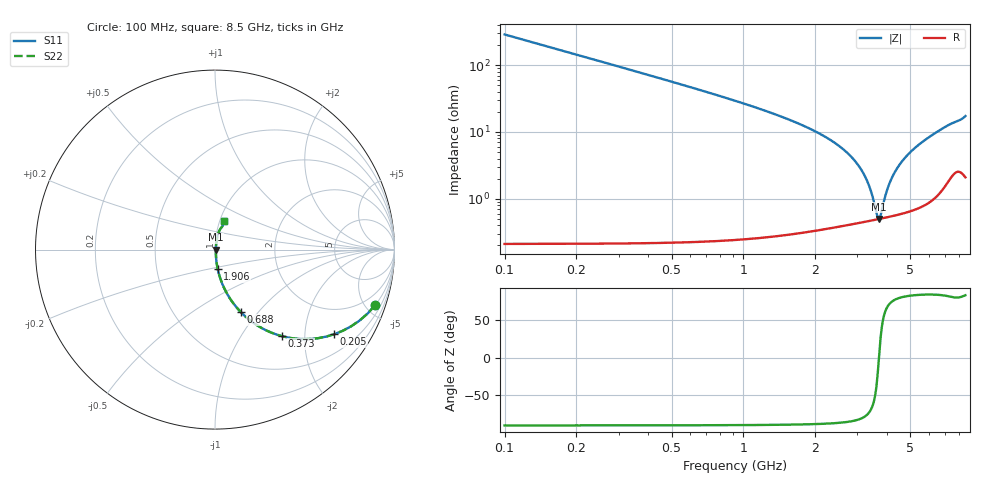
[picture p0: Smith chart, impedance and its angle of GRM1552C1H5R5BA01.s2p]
!Murata Part Number: GRM1552C1H5R5BA01
!These Parameters are Measured in Series Mode Connection
!Data Generated on Mar 30, 2021
!  o--ll--o
!Port1  Port2
!  o------o
!Operation Temp=25[degC], DC Bias Voltage=0[V]
!Freq. Start=100[MHz] Stop=9[GHz] 401[Steps]
# Hz S RI R 50
!Freq.(Hz) S11(Real) S11(Imag) S21(Real) S21(Imag) S12(Real) S12(Imag) S22(Real) S22(Imag)
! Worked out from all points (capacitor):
!   401 points, 100 MHz to 8.5 GHz, reference 50 ohm
!   read as one part in series: C = 5.5 pF near 142 MHz
!   lowest |Z| = 496 mohm at 3.691 GHz (marker M1)
!   series resonance near 3.693 GHz, so ESL is about 340 pH
!   S11 on the Smith chart (normalised r, x): 100 MHz: 1.00, -5.78; 205 MHz: 1.00, -2.81; 373 MHz: 1.00, -1.54; 688 MHz: 1.00, -0.81; 1.906 GHz: 1.01, -0.22; 8.5 GHz: 1.04, +0.34
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1e8  0.893 -0.3088  0.107 0.3088  0.107 0.3088  0.893 -0.3088
2.05e8  0.6642 -0.4715  0.3358 0.4715  0.3358 0.4715  0.6642 -0.4715
3.73e8  0.3712 -0.4817  0.6288 0.4817  0.6288 0.4817  0.3712 -0.4817
5.2e8  0.2301 -0.4189  0.7699 0.4189  0.7699 0.4189  0.2301 -0.4189
6.88e8  0.1428 -0.3471  0.8572 0.3471  0.8572 0.3471  0.1428 -0.3471
1.003e9  0.0685 -0.2481  0.9315 0.2481  0.9315 0.2481  0.0685 -0.2481
1.507e9  0.0275 -0.155  0.9725 0.155  0.9725 0.155  0.0275 -0.155
1.906e9  0.0153 -0.1092  0.9847 0.1092  0.9847 0.1092  0.0153 -0.1092
2.494e9  0.00769 -0.0623  0.9923 0.0623  0.9923 0.0623  0.00769 -0.0623
2.914e9  0.00557 -0.0372  0.9944 0.0372  0.9944 0.0372  0.00557 -0.0372
3.313e9  0.00486 -0.017  0.9951 0.017  0.9951 0.017  0.00486 -0.017
3.46e9  0.00482 -0.0102  0.9952 0.0102  0.9952 0.0102  0.00482 -0.0102
3.628e9  0.00489 -0.00279  0.9951 0.00279  0.9951 0.00279  0.00489 -0.00279
3.691e9  0.00494 -0.000103  0.9951 0.000103  0.9951 0.000103  0.00494 -0.000103
3.754e9  0.00501 0.00254  0.995 -0.00254  0.995 -0.00254  0.00501 0.00254
3.901e9  0.00522 0.00856  0.9948 -0.00856  0.9948 -0.00856  0.00522 0.00856
4.027e9  0.00546 0.0136  0.9945 -0.0136  0.9945 -0.0136  0.00546 0.0136
4.3e9  0.00614 0.024  0.9939 -0.024  0.9939 -0.024  0.00614 0.024
4.867e9  0.00822 0.0442  0.9918 -0.0442  0.9918 -0.0442  0.00822 0.0442
5.707e9  0.0131 0.0722  0.9869 -0.0722  0.9869 -0.0722  0.0131 0.0722
7.114e9  0.0306 0.1165  0.9694 -0.1165  0.9694 -0.1165  0.0306 0.1165
8.5e9  0.0476 0.1606  0.9524 -0.1606  0.9524 -0.1606  0.0476 0.1606
